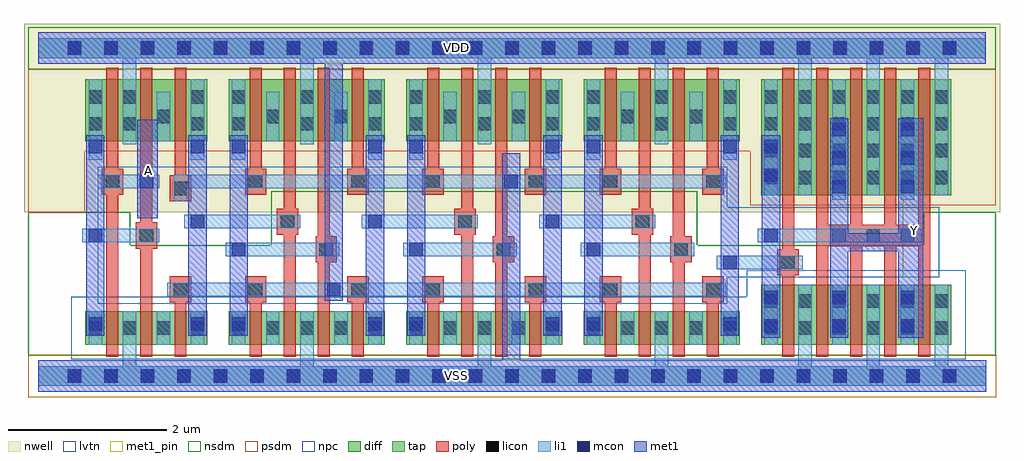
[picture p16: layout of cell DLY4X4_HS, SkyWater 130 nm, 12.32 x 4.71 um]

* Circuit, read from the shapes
.subckt DLY4X4_HS A VDD VSS Y
XM1 VSS A n1 VSS sky130_fd_pr__nfet_01v8_lvt w=0.425 l=0.15
XM2 n2 n1 VSS VSS sky130_fd_pr__nfet_01v8_lvt w=0.425 l=0.15
XM3 n3 VDD n2 VSS sky130_fd_pr__nfet_01v8_lvt w=0.425 l=0.15
XM4 n4 VDD n5 VSS sky130_fd_pr__nfet_01v8_lvt w=0.425 l=0.15
XM5 VSS n3 n4 VSS sky130_fd_pr__nfet_01v8_lvt w=0.425 l=0.15
XM6 n6 n5 VSS VSS sky130_fd_pr__nfet_01v8_lvt w=0.425 l=0.15
XM7 n7 VDD n6 VSS sky130_fd_pr__nfet_01v8_lvt w=0.425 l=0.15
XM8 n8 VDD n9 VSS sky130_fd_pr__nfet_01v8_lvt w=0.425 l=0.15
XM9 VSS n7 n8 VSS sky130_fd_pr__nfet_01v8_lvt w=0.425 l=0.15
XM10 n10 n9 VSS VSS sky130_fd_pr__nfet_01v8_lvt w=0.425 l=0.15
XM11 n11 VDD n10 VSS sky130_fd_pr__nfet_01v8_lvt w=0.425 l=0.15
XM12 n12 VDD n13 VSS sky130_fd_pr__nfet_01v8_lvt w=0.425 l=0.15
XM13 VSS n11 n12 VSS sky130_fd_pr__nfet_01v8_lvt w=0.425 l=0.15
XM14 n14 n13 VSS VSS sky130_fd_pr__nfet_01v8_lvt w=0.425 l=0.15
XM15 n15 VDD n14 VSS sky130_fd_pr__nfet_01v8_lvt w=0.425 l=0.15
XM16 VSS n15 n16 VSS sky130_fd_pr__nfet_01v8_lvt w=0.76 l=0.15
XM17 Y n16 VSS VSS sky130_fd_pr__nfet_01v8_lvt w=0.76 l=0.15 m=4
XM18 VDD A n1 VDD sky130_fd_pr__pfet_01v8 w=0.78 l=0.15
XM19 n17 n1 VDD VDD sky130_fd_pr__pfet_01v8 w=0.78 l=0.15
XM20 n3 VSS n17 VDD sky130_fd_pr__pfet_01v8 w=0.78 l=0.15
XM21 n18 VSS n5 VDD sky130_fd_pr__pfet_01v8 w=0.78 l=0.15
XM22 VDD n3 n18 VDD sky130_fd_pr__pfet_01v8 w=0.78 l=0.15
XM23 n19 n5 VDD VDD sky130_fd_pr__pfet_01v8 w=0.78 l=0.15
XM24 n7 VSS n19 VDD sky130_fd_pr__pfet_01v8 w=0.78 l=0.15
XM25 n20 VSS n9 VDD sky130_fd_pr__pfet_01v8 w=0.78 l=0.15
XM26 VDD n7 n20 VDD sky130_fd_pr__pfet_01v8 w=0.78 l=0.15
XM27 n21 n9 VDD VDD sky130_fd_pr__pfet_01v8 w=0.78 l=0.15
XM28 n11 VSS n21 VDD sky130_fd_pr__pfet_01v8 w=0.78 l=0.15
XM29 n22 VSS n13 VDD sky130_fd_pr__pfet_01v8 w=0.78 l=0.15
XM30 VDD n11 n22 VDD sky130_fd_pr__pfet_01v8 w=0.78 l=0.15
XM31 n23 n13 VDD VDD sky130_fd_pr__pfet_01v8 w=0.78 l=0.15
XM32 n15 VSS n23 VDD sky130_fd_pr__pfet_01v8 w=0.78 l=0.15
XM33 VDD n15 n16 VDD sky130_fd_pr__pfet_01v8 w=1.46 l=0.15
XM34 Y n16 VDD VDD sky130_fd_pr__pfet_01v8 w=1.46 l=0.15 m=4
.ends

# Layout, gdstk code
from math import pi, radians
import gdstk
lib = gdstk.Library(unit=1e-6, precision=1e-09)
def R(c, l, rs):  # rectangles x0, y0, x1, y1
    for r in rs: c.add(gdstk.rectangle(r[:2], r[2:], *l))
def A(c, l, x, y, w, h, nx, ny, dx, dy):  # array of equal rectangles
    R(c, l, [(x+i*dx, y+j*dy, x+i*dx+w, y+j*dy+h) for i in range(nx) for j in range(ny)])
def P(c, l, *ps):  # polygons
    for p in ps: c.add(gdstk.Polygon(p, *l))
nwell = (64, 20)
diff = (65, 20)
tap = (65, 44)
poly = (66, 20)
licon = (66, 44)
li1 = (67, 20)
mcon = (67, 44)
met1_pin = (68, 16)
met1 = (68, 20)
nsdm = (93, 44)
psdm = (94, 20)
npc = (95, 20)
lvtn = (125, 44)

l1m1_c_cdns_752016586811 = lib.new_cell('L1M1_C_CDNS_752016586811')
R(l1m1_c_cdns_752016586811, li1, [(-0.165,-0.085,0.165,0.085)])
R(l1m1_c_cdns_752016586811, mcon, [(-0.085,-0.085,0.085,0.085)])
R(l1m1_c_cdns_752016586811, met1, [(-0.115,-0.145,0.115,0.145)])

pyl1con_c_cdns_752016586 = lib.new_cell('PYL1CON_C_CDNS_752016586813')
R(pyl1con_c_cdns_752016586, poly, [(-0.135,-0.165,0.135,0.165)])
R(pyl1con_c_cdns_752016586, licon, [(-0.085,-0.085,0.085,0.085)])
R(pyl1con_c_cdns_752016586, npc, [(-0.185,-0.185,0.185,0.185)])

l1m1_c_cdns_752016586812 = lib.new_cell('L1M1_C_CDNS_752016586812')
R(l1m1_c_cdns_752016586812, li1, [(-0.085,-0.165,0.085,0.165)])
R(l1m1_c_cdns_752016586812, mcon, [(-0.085,-0.085,0.085,0.085)])
R(l1m1_c_cdns_752016586812, met1, [(-0.115,-0.145,0.115,0.145)])

l1m1_c_cdns_752016586816 = lib.new_cell('L1M1_C_CDNS_752016586816')
R(l1m1_c_cdns_752016586816, li1, [(-0.085,-0.345,0.085,0.345)])
R(l1m1_c_cdns_752016586816, mcon, [(-0.085,-0.265,0.085,-0.095), (-0.085,0.095,0.085,0.265)])
R(l1m1_c_cdns_752016586816, met1, [(-0.115,-0.325,0.115,0.325)])

l1m1_c_cdns_752016586817 = lib.new_cell('L1M1_C_CDNS_752016586817')
R(l1m1_c_cdns_752016586817, li1, [(-0.085,-0.525,0.085,0.525)])
A(l1m1_c_cdns_752016586817, mcon, -0.085, -0.445, 0.17, 0.17, 1, 3, 0, 0.36)
R(l1m1_c_cdns_752016586817, met1, [(-0.115,-0.505,0.115,0.505)])

licondiff_c_cdns_7520165 = lib.new_cell('LICONDIFF_C_CDNS_752016586819')
R(licondiff_c_cdns_7520165, diff, [(-0.125,-0.145,0.125,0.145)])
R(licondiff_c_cdns_7520165, licon, [(-0.085,-0.085,0.085,0.085), (-0.085,-0.085,0.085,0.085)])

dly4x4_hs = lib.new_cell('DLY4X4_HS')
R(dly4x4_hs, nwell, [(-0.18,2.07,12.14,4.445)])
A(dly4x4_hs, diff, 2.405, 0.395, 1.97, 0.425, 3, 1, 2.24, 0)
A(dly4x4_hs, diff, 2.405, 2.965, 1.97, 0.78, 3, 1, 2.24, 0)
R(dly4x4_hs, diff, [(0.595,0.395,2.135,0.82), (9.125,0.395,11.525,1.155), (9.125,2.285,11.525,3.745), (0.595,2.965,2.135,3.745)])
A(dly4x4_hs, poly, 9.39, 0.245, 0.15, 3.65, 5, 1, 0.43, 0)
R(dly4x4_hs, poly, [(0.86,0.245,1.01,3.895), (1.29,0.245,1.44,3.895), (1.72,0.245,1.87,0.97), (2.67,0.245,2.82,0.97), (3.1,0.245,3.25,3.895), (3.53,0.245,3.68,3.895), (3.96,0.245,4.11,0.97), (4.91,0.245,5.06,0.97), (5.34,0.245,5.49,3.895), (5.77,0.245,5.92,3.895), (6.2,0.245,6.35,0.97), (7.15,0.245,7.3,0.97), (7.58,0.245,7.73,3.895), (8.01,0.245,8.16,3.895), (8.44,0.245,8.59,0.97), (1.72,2.37,1.87,3.895), (2.67,2.455,2.82,3.895), (3.96,2.455,4.11,3.895), (4.91,2.455,5.06,3.895), (6.2,2.455,6.35,3.895), (7.15,2.455,7.3,3.895), (8.44,2.455,8.59,3.895)])
A(dly4x4_hs, licon, 0.375, -0.085, 0.17, 0.17, 25, 2, 0.46, 4.14)
A(dly4x4_hs, licon, 2.445, 0.52, 0.17, 0.17, 3, 2, 0.86, 2.58)
A(dly4x4_hs, licon, 4.685, 0.52, 0.17, 0.17, 3, 2, 0.86, 2.58)
A(dly4x4_hs, licon, 6.925, 0.52, 0.17, 0.17, 3, 2, 0.86, 2.58)
A(dly4x4_hs, licon, 9.165, 0.52, 0.17, 0.17, 6, 2, 0.43, 0.34)
A(dly4x4_hs, licon, 9.165, 2.42, 0.17, 0.17, 6, 4, 0.43, 0.34)
A(dly4x4_hs, licon, 2.445, 3.44, 0.17, 0.17, 3, 1, 0.86, 0)
A(dly4x4_hs, licon, 4.685, 3.44, 0.17, 0.17, 3, 1, 0.86, 0)
A(dly4x4_hs, licon, 6.925, 3.44, 0.17, 0.17, 3, 1, 0.86, 0)
R(dly4x4_hs, licon, [(0.635,0.52,0.805,0.69), (1.065,0.52,1.235,0.69), (1.925,0.52,2.095,0.69), (0.635,3.1,0.805,3.27), (1.065,3.1,1.235,3.27), (1.925,3.1,2.095,3.27), (0.635,3.44,0.805,3.61), (1.065,3.44,1.235,3.61), (1.925,3.44,2.095,3.61)])
A(dly4x4_hs, li1, 9.165, 0.395, 0.17, 0.76, 3, 1, 0.86, 0)
A(dly4x4_hs, li1, 9.165, 2.285, 0.17, 1.46, 3, 1, 0.86, 0)
R(dly4x4_hs, li1, [(0.635,0.395,0.805,0.82), (1.925,0.395,2.095,0.82), (2.445,0.395,2.615,0.82), (4.165,0.395,4.335,0.82), (4.685,0.395,4.855,0.82), (6.405,0.395,6.575,0.82), (6.925,0.395,7.095,0.82), (8.645,0.395,8.815,0.82), (0.635,2.965,0.805,3.745), (1.925,2.965,2.095,3.745), (2.445,2.965,2.615,3.745), (4.165,2.965,4.335,3.745), (4.685,2.965,4.855,3.745), (6.405,2.965,6.575,3.745), (6.925,2.965,7.095,3.745), (8.645,2.965,8.815,3.745)])
P(dly4x4_hs, li1, [(8.68,2.54),(1.71,2.54),(1.71,2.205),(1.88,2.205),(1.88,2.37),(8.68,2.37)],
  [(11.96,4.265),(0,4.265),(0,4.015),(1.065,4.015),(1.065,2.925),(1.235,2.925),(1.235,4.015),(3.305,4.015),(3.305,2.925),(3.475,2.925),(3.475,4.015),(5.545,4.015),(5.545,2.925),(5.715,2.925),(5.715,4.015),(7.785,4.015),(7.785,2.925),(7.955,2.925),(7.955,4.015),(9.595,4.015),(9.595,2.285),(9.765,2.285),(9.765,4.015),(10.455,4.015),(10.455,2.285),(10.625,2.285),(10.625,4.015),(11.315,4.015),(11.315,2.285),(11.485,2.285),(11.485,4.015),(11.96,4.015)],
  [(11.965,0.125),(11.485,0.125),(11.485,1.155),(11.315,1.155),(11.315,0.125),(10.625,0.125),(10.625,1.155),(10.455,1.155),(10.455,0.125),(9.765,0.125),(9.765,1.155),(9.595,1.155),(9.595,0.125),(7.955,0.125),(7.955,0.82),(7.785,0.82),(7.785,0.125),(5.715,0.125),(5.715,0.82),(5.545,0.82),(5.545,0.125),(3.475,0.125),(3.475,0.82),(3.305,0.82),(3.305,0.125),(1.235,0.125),(1.235,0.82),(1.065,0.82),(1.065,0.125),(0,0.125),(0,-0.125),(11.965,-0.125)])
A(dly4x4_hs, mcon, 0.375, -0.085, 0.17, 0.17, 25, 2, 0.46, 4.14)
R(dly4x4_hs, met1_pin, [(10.91,1.245,11.17,2.485), (1.25,1.995,1.51,3.235)])
P(dly4x4_hs, met1, [(11.17,3.255),(10.855,3.255),(10.855,1.805),(10.225,1.805),(10.225,3.255),(9.995,3.255),(9.995,0.485),(10.225,0.485),(10.225,1.575),(10.855,1.575),(10.855,0.49),(10.91,0.49),(10.91,0.485),(11.17,0.485)],
  [(11.96,4.34),(0,4.34),(0,3.94),(3.615,3.94),(3.615,1.125),(3.845,1.125),(3.845,3.94),(11.96,3.94)],
  [(11.965,0.2),(6.085,0.2),(6.085,2.815),(5.855,2.815),(5.855,0.2),(0,0.2),(0,-0.2),(11.965,-0.2)])
R(dly4x4_hs, nsdm, [(-0.125,3.875,12.085,4.405)])
P(dly4x4_hs, nsdm, [(12.085,2.07),(11.175,2.07),(11.175,1.65),(8.32,1.65),(8.32,2.33),(2.94,2.33),(2.94,1.65),(1.16,1.65),(1.16,2.07),(-0.125,2.07),(-0.125,0.265),(12.085,0.265)])
R(dly4x4_hs, psdm, [(-0.125,-0.265,12.09,0.265)])
P(dly4x4_hs, psdm, [(12.085,3.875),(-0.125,3.875),(-0.125,2.07),(0.585,2.07),(0.585,2.835),(8.985,2.835),(8.985,2.155),(12.085,2.155)])
P(dly4x4_hs, npc, [(11.37,2.13),(8.7,2.13),(8.7,2.64),(0.75,2.64),(0.75,0.91),(8.7,0.91),(8.7,1.25),(11.37,1.25)])
P(dly4x4_hs, lvtn, [(11.705,1.335),(8.945,1.335),(8.945,1),(0.415,1),(0.415,0.215),(11.705,0.215)])
dly4x4_hs.add(gdstk.FlexPath([(0,4.14),(11.96,4.14)], 0.4, ends="flush", simple_path=True, layer=68, datatype=16))  # met1_pin
dly4x4_hs.add(gdstk.FlexPath([(0,0),(11.965,0)], 0.4, ends="flush", simple_path=True, layer=68, datatype=16))  # met1_pin
dly4x4_hs.add(gdstk.FlexPath([(6.49,0.51),(6.49,3.04)], 0.23, ends="flush", simple_path=True, layer=68, datatype=20))  # met1
dly4x4_hs.add(gdstk.FlexPath([(7.01,0.51),(7.01,3.04)], 0.23, ends="flush", simple_path=True, layer=68, datatype=20))  # met1
dly4x4_hs.add(gdstk.FlexPath([(4.25,0.51),(4.25,3.04)], 0.23, ends="flush", simple_path=True, layer=68, datatype=20))  # met1
dly4x4_hs.add(gdstk.FlexPath([(4.77,0.51),(4.77,3.04)], 0.23, ends="flush", simple_path=True, layer=68, datatype=20))  # met1
dly4x4_hs.add(gdstk.FlexPath([(2.53,0.51),(2.53,3.04)], 0.23, ends="flush", simple_path=True, layer=68, datatype=20))  # met1
dly4x4_hs.add(gdstk.FlexPath([(2.01,0.51),(2.01,3.04)], 0.23, ends="flush", simple_path=True, layer=68, datatype=20))  # met1
dly4x4_hs.add(gdstk.FlexPath([(1.38,1.995),(1.38,3.235)], 0.26, ends="flush", simple_path=True, layer=68, datatype=20))  # met1
dly4x4_hs.add(gdstk.FlexPath([(0.72,0.51),(0.72,3.04)], 0.23, ends="flush", simple_path=True, layer=68, datatype=20))  # met1
dly4x4_hs.add(gdstk.FlexPath([(9.25,0.485),(9.25,3.04)], 0.23, ends="flush", simple_path=True, layer=68, datatype=20))  # met1
dly4x4_hs.add(gdstk.FlexPath([(8.73,0.51),(8.73,3.04)], 0.23, ends="flush", simple_path=True, layer=68, datatype=20))  # met1
dly4x4_hs.add(gdstk.FlexPath([(1.58,0.395),(1.58,0.82)], 0.17, ends="flush", simple_path=True, layer=67, datatype=20))  # li1
dly4x4_hs.add(gdstk.FlexPath([(1.58,2.965),(1.58,3.59)], 0.17, ends="flush", simple_path=True, layer=67, datatype=20))  # li1
dly4x4_hs.add(gdstk.FlexPath([(8.3,0.395),(8.3,0.82)], 0.17, ends="flush", simple_path=True, layer=67, datatype=20))  # li1
dly4x4_hs.add(gdstk.FlexPath([(7.44,0.395),(7.44,0.82)], 0.17, ends="flush", simple_path=True, layer=67, datatype=20))  # li1
dly4x4_hs.add(gdstk.FlexPath([(8.3,2.965),(8.3,3.59)], 0.17, ends="flush", simple_path=True, layer=67, datatype=20))  # li1
dly4x4_hs.add(gdstk.FlexPath([(7.44,2.965),(7.44,3.59)], 0.17, ends="flush", simple_path=True, layer=67, datatype=20))  # li1
dly4x4_hs.add(gdstk.FlexPath([(6.06,0.395),(6.06,0.82)], 0.17, ends="flush", simple_path=True, layer=67, datatype=20))  # li1
dly4x4_hs.add(gdstk.FlexPath([(5.2,0.395),(5.2,0.82)], 0.17, ends="flush", simple_path=True, layer=67, datatype=20))  # li1
dly4x4_hs.add(gdstk.FlexPath([(6.06,2.965),(6.06,3.59)], 0.17, ends="flush", simple_path=True, layer=67, datatype=20))  # li1
dly4x4_hs.add(gdstk.FlexPath([(5.2,2.965),(5.2,3.59)], 0.17, ends="flush", simple_path=True, layer=67, datatype=20))  # li1
dly4x4_hs.add(gdstk.FlexPath([(8.565,1.435),(9.65,1.435)], 0.17, ends="flush", simple_path=True, layer=67, datatype=20))  # li1
dly4x4_hs.add(gdstk.FlexPath([(6.845,1.6),(8.28,1.6)], 0.17, ends="flush", simple_path=True, layer=67, datatype=20))  # li1
dly4x4_hs.add(gdstk.FlexPath([(6.325,1.95),(7.79,1.95)], 0.17, ends="flush", simple_path=True, layer=67, datatype=20))  # li1
dly4x4_hs.add(gdstk.FlexPath([(4.605,1.6),(6.04,1.6)], 0.17, ends="flush", simple_path=True, layer=67, datatype=20))  # li1
dly4x4_hs.add(gdstk.FlexPath([(4.085,1.95),(5.55,1.95)], 0.17, ends="flush", simple_path=True, layer=67, datatype=20))  # li1
dly4x4_hs.add(gdstk.FlexPath([(2.365,1.6),(3.8,1.6)], 0.17, ends="flush", simple_path=True, layer=67, datatype=20))  # li1
dly4x4_hs.add(gdstk.FlexPath([(1.845,1.95),(3.31,1.95)], 0.17, ends="flush", simple_path=True, layer=67, datatype=20))  # li1
dly4x4_hs.add(gdstk.FlexPath([(9.085,1.775),(11.155,1.775)], 0.17, ends="flush", simple_path=True, layer=67, datatype=20))  # li1
dly4x4_hs.add(gdstk.FlexPath([(1.315,2.455),(0.75,2.455)], 0.17, ends="flush", simple_path=True, layer=67, datatype=20))  # li1
dly4x4_hs.add(gdstk.FlexPath([(1.63,1.095),(8.68,1.095)], 0.17, ends="flush", simple_path=True, layer=67, datatype=20))  # li1
dly4x4_hs.add(gdstk.FlexPath([(3.82,0.395),(3.82,0.82)], 0.17, ends="flush", simple_path=True, layer=67, datatype=20))  # li1
dly4x4_hs.add(gdstk.FlexPath([(3.82,2.965),(3.82,3.59)], 0.17, ends="flush", simple_path=True, layer=67, datatype=20))  # li1
dly4x4_hs.add(gdstk.FlexPath([(0.555,1.775),(1.53,1.775)], 0.17, ends="flush", simple_path=True, layer=67, datatype=20))  # li1
dly4x4_hs.add(gdstk.FlexPath([(2.96,0.395),(2.96,0.82)], 0.17, ends="flush", simple_path=True, layer=67, datatype=20))  # li1
dly4x4_hs.add(gdstk.FlexPath([(2.96,2.965),(2.96,3.59)], 0.17, ends="flush", simple_path=True, layer=67, datatype=20))  # li1
dly4x4_hs.add(gdstk.FlexPath([(0,4.14),(11.96,4.14)], 0.25, ends="flush", simple_path=True, layer=65, datatype=44))  # tap
dly4x4_hs.add(gdstk.FlexPath([(0,0),(11.965,0)], 0.25, ends="flush", simple_path=True, layer=65, datatype=44))  # tap
dly4x4_hs.add(gdstk.Reference(l1m1_c_cdns_752016586811, (8.73,1.435)))
dly4x4_hs.add(gdstk.Reference(l1m1_c_cdns_752016586811, (7.01,1.6), rotation=pi, x_reflection=True))
dly4x4_hs.add(gdstk.Reference(l1m1_c_cdns_752016586811, (6.49,1.95), rotation=pi, x_reflection=True))
dly4x4_hs.add(gdstk.Reference(l1m1_c_cdns_752016586811, (4.77,1.6), rotation=pi, x_reflection=True))
dly4x4_hs.add(gdstk.Reference(l1m1_c_cdns_752016586811, (4.25,1.95), rotation=pi, x_reflection=True))
dly4x4_hs.add(gdstk.Reference(l1m1_c_cdns_752016586811, (2.53,1.6), rotation=pi, x_reflection=True))
dly4x4_hs.add(gdstk.Reference(l1m1_c_cdns_752016586811, (2.01,1.95), rotation=pi, x_reflection=True))
dly4x4_hs.add(gdstk.Reference(l1m1_c_cdns_752016586811, (5.97,2.455), rotation=pi, x_reflection=True))
dly4x4_hs.add(gdstk.Reference(l1m1_c_cdns_752016586811, (3.73,1.095), rotation=pi, x_reflection=True))
dly4x4_hs.add(gdstk.Reference(l1m1_c_cdns_752016586811, (0.72,1.775), rotation=pi, x_reflection=True))
dly4x4_hs.add(gdstk.Reference(l1m1_c_cdns_752016586811, (9.25,1.775)))
dly4x4_hs.add(gdstk.Reference(l1m1_c_cdns_752016586811, (1.365,2.455), x_reflection=True))
dly4x4_hs.add(gdstk.Reference(pyl1con_c_cdns_752016586, (8.115,1.6), rotation=pi))
dly4x4_hs.add(gdstk.Reference(pyl1con_c_cdns_752016586, (7.625,1.95), rotation=pi))
dly4x4_hs.add(gdstk.Reference(pyl1con_c_cdns_752016586, (5.875,1.6), rotation=pi))
dly4x4_hs.add(gdstk.Reference(pyl1con_c_cdns_752016586, (5.385,1.95), rotation=pi))
dly4x4_hs.add(gdstk.Reference(pyl1con_c_cdns_752016586, (3.635,1.6), rotation=pi))
dly4x4_hs.add(gdstk.Reference(pyl1con_c_cdns_752016586, (3.145,1.95), rotation=pi))
dly4x4_hs.add(gdstk.Reference(pyl1con_c_cdns_752016586, (1.365,1.775), rotation=pi))
dly4x4_hs.add(gdstk.Reference(pyl1con_c_cdns_752016586, (1.795,2.37), rotation=pi))
dly4x4_hs.add(gdstk.Reference(pyl1con_c_cdns_752016586, (4.035,2.455), rotation=pi))
dly4x4_hs.add(gdstk.Reference(pyl1con_c_cdns_752016586, (4.985,2.455), rotation=pi))
dly4x4_hs.add(gdstk.Reference(pyl1con_c_cdns_752016586, (6.275,2.455), rotation=pi))
dly4x4_hs.add(gdstk.Reference(pyl1con_c_cdns_752016586, (7.225,2.455), rotation=pi))
dly4x4_hs.add(gdstk.Reference(pyl1con_c_cdns_752016586, (2.745,2.455), rotation=pi))
dly4x4_hs.add(gdstk.Reference(pyl1con_c_cdns_752016586, (8.515,2.455), rotation=pi))
dly4x4_hs.add(gdstk.Reference(pyl1con_c_cdns_752016586, (7.225,1.095), rotation=pi))
dly4x4_hs.add(gdstk.Reference(pyl1con_c_cdns_752016586, (6.275,1.095), rotation=pi))
dly4x4_hs.add(gdstk.Reference(pyl1con_c_cdns_752016586, (4.985,1.095), rotation=pi))
dly4x4_hs.add(gdstk.Reference(pyl1con_c_cdns_752016586, (4.035,1.095), rotation=pi))
dly4x4_hs.add(gdstk.Reference(pyl1con_c_cdns_752016586, (8.515,1.095), rotation=pi))
dly4x4_hs.add(gdstk.Reference(pyl1con_c_cdns_752016586, (2.745,1.095), rotation=pi))
dly4x4_hs.add(gdstk.Reference(pyl1con_c_cdns_752016586, (9.465,1.435)))
dly4x4_hs.add(gdstk.Reference(pyl1con_c_cdns_752016586, (10.97,1.775), rotation=3*pi/2))
dly4x4_hs.add(gdstk.Reference(pyl1con_c_cdns_752016586, (10.54,1.775), rotation=3*pi/2))
dly4x4_hs.add(gdstk.Reference(pyl1con_c_cdns_752016586, (10.11,1.775), rotation=3*pi/2))
dly4x4_hs.add(gdstk.Reference(pyl1con_c_cdns_752016586, (1.795,1.095), rotation=pi))
dly4x4_hs.add(gdstk.Reference(pyl1con_c_cdns_752016586, (0.935,2.455), rotation=pi, x_reflection=True))
dly4x4_hs.add(gdstk.Reference(l1m1_c_cdns_752016586812, (6.49,2.895), rotation=pi, x_reflection=True))
dly4x4_hs.add(gdstk.Reference(l1m1_c_cdns_752016586812, (6.49,0.655), rotation=pi, x_reflection=True))
dly4x4_hs.add(gdstk.Reference(l1m1_c_cdns_752016586812, (7.01,0.655), rotation=pi, x_reflection=True))
dly4x4_hs.add(gdstk.Reference(l1m1_c_cdns_752016586812, (7.01,2.895), rotation=pi, x_reflection=True))
dly4x4_hs.add(gdstk.Reference(l1m1_c_cdns_752016586812, (4.25,2.895), rotation=pi, x_reflection=True))
dly4x4_hs.add(gdstk.Reference(l1m1_c_cdns_752016586812, (4.25,0.655), rotation=pi, x_reflection=True))
dly4x4_hs.add(gdstk.Reference(l1m1_c_cdns_752016586812, (4.77,0.655), rotation=pi, x_reflection=True))
dly4x4_hs.add(gdstk.Reference(l1m1_c_cdns_752016586812, (4.77,2.895), rotation=pi, x_reflection=True))
dly4x4_hs.add(gdstk.Reference(l1m1_c_cdns_752016586812, (2.53,2.895), rotation=pi, x_reflection=True))
dly4x4_hs.add(gdstk.Reference(l1m1_c_cdns_752016586812, (2.53,0.655), rotation=pi, x_reflection=True))
dly4x4_hs.add(gdstk.Reference(l1m1_c_cdns_752016586812, (2.01,0.655), rotation=pi, x_reflection=True))
dly4x4_hs.add(gdstk.Reference(l1m1_c_cdns_752016586812, (2.01,2.895), rotation=pi, x_reflection=True))
dly4x4_hs.add(gdstk.Reference(l1m1_c_cdns_752016586812, (8.73,2.895), rotation=pi, x_reflection=True))
dly4x4_hs.add(gdstk.Reference(l1m1_c_cdns_752016586812, (8.73,0.655), rotation=pi, x_reflection=True))
dly4x4_hs.add(gdstk.Reference(l1m1_c_cdns_752016586812, (0.72,0.655), rotation=pi, x_reflection=True))
dly4x4_hs.add(gdstk.Reference(l1m1_c_cdns_752016586812, (0.72,2.895), rotation=pi, x_reflection=True))
dly4x4_hs.add(gdstk.Reference(l1m1_c_cdns_752016586816, (9.25,2.715)))
dly4x4_hs.add(gdstk.Reference(l1m1_c_cdns_752016586816, (9.25,0.81)))
dly4x4_hs.add(gdstk.Reference(l1m1_c_cdns_752016586816, (10.11,0.81)))
dly4x4_hs.add(gdstk.Reference(l1m1_c_cdns_752016586816, (10.97,0.81)))
dly4x4_hs.add(gdstk.Reference(l1m1_c_cdns_752016586817, (10.11,2.75)))
dly4x4_hs.add(gdstk.Reference(l1m1_c_cdns_752016586817, (10.97,2.75)))
dly4x4_hs.add(gdstk.Reference(licondiff_c_cdns_7520165, (1.58,0.605)))
dly4x4_hs.add(gdstk.Reference(licondiff_c_cdns_7520165, (1.58,3.275)))
dly4x4_hs.add(gdstk.Reference(licondiff_c_cdns_7520165, (8.3,0.605)))
dly4x4_hs.add(gdstk.Reference(licondiff_c_cdns_7520165, (7.44,0.605)))
dly4x4_hs.add(gdstk.Reference(licondiff_c_cdns_7520165, (8.3,3.275)))
dly4x4_hs.add(gdstk.Reference(licondiff_c_cdns_7520165, (7.44,3.275)))
dly4x4_hs.add(gdstk.Reference(licondiff_c_cdns_7520165, (6.06,0.605)))
dly4x4_hs.add(gdstk.Reference(licondiff_c_cdns_7520165, (5.2,0.605)))
dly4x4_hs.add(gdstk.Reference(licondiff_c_cdns_7520165, (6.06,3.275)))
dly4x4_hs.add(gdstk.Reference(licondiff_c_cdns_7520165, (5.2,3.275)))
dly4x4_hs.add(gdstk.Reference(licondiff_c_cdns_7520165, (3.82,3.275)))
dly4x4_hs.add(gdstk.Reference(licondiff_c_cdns_7520165, (3.82,0.605)))
dly4x4_hs.add(gdstk.Reference(licondiff_c_cdns_7520165, (2.96,3.275)))
dly4x4_hs.add(gdstk.Reference(licondiff_c_cdns_7520165, (2.96,0.605)))
dly4x4_hs.add(gdstk.Label('VDD', (5.285,4.145), layer=68, texttype=5))
dly4x4_hs.add(gdstk.Label('Y', (11.055,1.84), layer=68, texttype=5))
dly4x4_hs.add(gdstk.Label('A', (1.395,2.59), layer=68, texttype=5))
dly4x4_hs.add(gdstk.Label('VSS', (5.285,0.005), layer=68, texttype=5))

lib.write_gds('DLY4X4_HS.gds')
